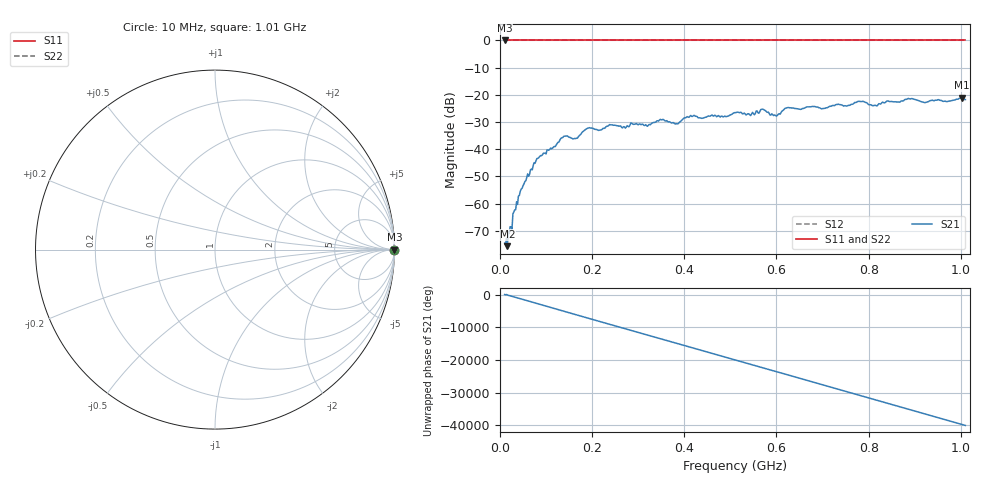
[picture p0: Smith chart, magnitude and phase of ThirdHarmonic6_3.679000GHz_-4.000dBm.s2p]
! 8/17/2025 12:27:07 PM
! C:\ANRITSUVNA\TEMP\TEMP.S2P
! CHANNEL.1
! TR.MEASUREMENT
! RAW.DATA
! RF.CORRECTION.OFF
! AVERAGING.OFF
! IF.BANDWIDTH: 5KHZ
! SWEEPTYPE:  FREQ.SWEEP(Linear)
! Reference Plane Port Info
! PORT:  PORT1  PORT2
! DISTANCE:  0  m  0  m
! TIME:  0  s  0  s
! PHASE.OFFSET:  0  deg.  0  deg.
! LOSS:  0  dB  0  dB
! REF.LOSS:  0  dB  0  dB
! REF.FREQ:  0  Hz  0  Hz
! Power Info
! POWER:  -20  dBm  -20  dBm
! EFF.POWER:  -20  dBm  -20  dBm
! SOURCE.ATTEN:  0  dB  0  dB
! TEST.ATTEN:  0  dB  0  dB
# GHZ S RI R 50.0
! FREQ.GHZ  S11RE  S11IM  S21RE  S21IM  S12RE  S12IM  S22RE  S22IM
!; PortSelection: Port_12
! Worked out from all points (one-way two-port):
!   501 points, 10 MHz to 1.01 GHz, reference 50 ohm
!   highest |S21| = -21.08 dB at 1.002 GHz (marker M1); lowest = -75.6 dB at 16 MHz (marker M2)
!   lowest |S11| = 0.0 dB at 10 MHz (marker M3)
!   |S11| at or under -10 dB: nowhere
!   |S22| runs from 0.0 to 0.0 dB; largest |S21 - S12| = 1.1
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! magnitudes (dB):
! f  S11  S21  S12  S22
! 10 MHz  0.0  -74.5  0.0  0.0
! 16 MHz  0.0  -75.6  0.0  0.0
! 44 MHz  0.0  -55.5  0.0  0.0
! 78 MHz  0.0  -44.2  0.0  0.0
! 136 MHz  0.0  -35.7  0.0  0.0
! 164 MHz  0.0  -36.1  0.0  0.0
! 178 MHz  0.0  -33.8  0.0  0.0
! 194 MHz  0.0  -32.1  0.0  0.0
! 318 MHz  0.0  -31.3  0.0  0.0
! 344 MHz  0.0  -29.6  0.0  0.0
! 384 MHz  0.0  -30.6  0.0  0.0
! 418 MHz  0.0  -27.9  0.0  0.0
! 510 MHz  0.0  -26.5  0.0  0.0
! 542 MHz  0.0  -27.3  0.0  0.0
! 570 MHz  0.0  -25.2  0.0  0.0
! 598 MHz  0.0  -27.6  0.0  0.0
! 622 MHz  0.0  -24.8  0.0  0.0
! 678 MHz  0.0  -24.3  0.0  0.0
! 814 MHz  0.0  -23.8  0.0  0.0
! 844 MHz  0.0  -22.4  0.0  0.0
! 1.002 GHz  0.0  -21.1  0.0  0.0
! 1.01 GHz  0.0  -21.7  0.0  0.0
